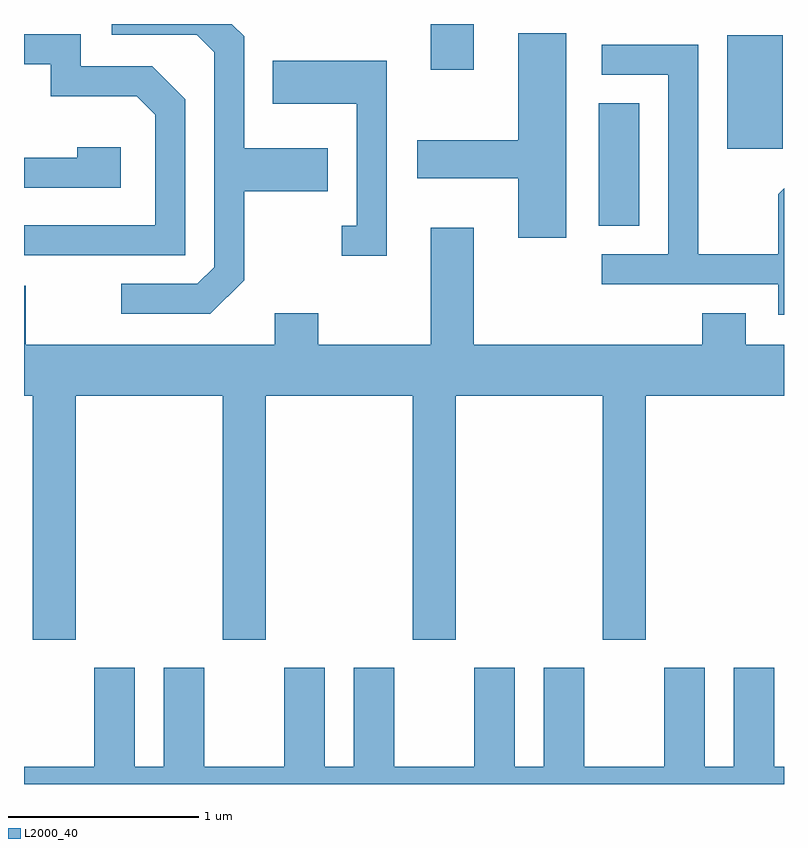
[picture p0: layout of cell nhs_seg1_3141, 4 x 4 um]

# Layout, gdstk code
import gdstk
lib = gdstk.Library(unit=1e-6, precision=1e-09)
def R(c, l, rs):  # rectangles x0, y0, x1, y1
    for r in rs: c.add(gdstk.rectangle(r[:2], r[2:], *l))
def P(c, l, *ps):  # polygons
    for p in ps: c.add(gdstk.Polygon(p, *l))
L2000_40 = (2000, 40)

nhs_seg1_3141 = lib.new_cell('nhs_seg1_3141')
R(nhs_seg1_3141, L2000_40, [(282.636,942.651,282.849,943.294), (283.311,943.056,283.604,943.654), (281.751,943.471,281.979,943.712)])
P(nhs_seg1_3141, L2000_40, [(280.769,942.364),(280.769,942.831),(281.209,942.831),(281.209,943.059),(280.769,943.059),(280.769,943.647),(280.704,943.712),(280.073,943.712),(280.073,943.656),(280.519,943.656),(280.611,943.564),(280.611,942.432),(280.524,942.344),(280.123,942.344),(280.123,942.186),(280.592,942.186)],
  [(282.464,943.664),(282.211,943.664),(282.211,943.099),(281.681,943.099),(281.681,942.901),(282.211,942.901),(282.211,942.586),(282.464,942.586)],
  [(280.459,943.317),(280.287,943.489),(279.909,943.489),(279.909,943.659),(279.611,943.659),(279.611,943.501),(279.751,943.501),(279.751,943.331),(280.204,943.331),(280.301,943.234),(280.301,942.654),(279.611,942.654),(279.611,942.496),(280.459,942.496)],
  [(283.611,942.847),(283.581,942.817),(283.581,942.499),(283.159,942.499),(283.159,943.604),(282.653,943.604),(282.653,943.446),(283.001,943.446),(283.001,942.499),(282.653,942.499),(282.653,942.341),(283.581,942.341),(283.581,942.181),(283.611,942.181)],
  [(281.519,943.519),(280.921,943.519),(280.921,943.291),(281.361,943.291),(281.361,942.649),(281.283,942.649),(281.283,942.491),(281.519,942.491)],
  [(280.119,943.064),(279.891,943.064),(279.891,943.009),(279.611,943.009),(279.611,942.851),(280.119,942.851)],
  [(279.884,941.756),(280.656,941.756),(280.656,940.471),(280.884,940.471),(280.884,941.756),(281.656,941.756),(281.656,940.471),(281.884,940.471),(281.884,941.756),(282.656,941.756),(282.656,940.471),(282.884,940.471),(282.884,941.756),(283.611,941.756),(283.611,942.024),(283.409,942.024),(283.409,942.189),(283.181,942.189),(283.181,942.024),(281.979,942.024),(281.979,942.639),(281.751,942.639),(281.751,942.024),(281.159,942.024),(281.159,942.189),(280.931,942.189),(280.931,942.024),(279.619,942.024),(279.619,942.334),(279.611,942.334),(279.611,941.756),(279.656,941.756),(279.656,940.471),(279.884,940.471)],
  [(283.611,939.804),(283.559,939.804),(283.559,940.324),(283.346,940.324),(283.346,939.804),(283.194,939.804),(283.194,940.324),(282.981,940.324),(282.981,939.804),(282.559,939.804),(282.559,940.324),(282.346,940.324),(282.346,939.804),(282.194,939.804),(282.194,940.324),(281.981,940.324),(281.981,939.804),(281.559,939.804),(281.559,940.324),(281.346,940.324),(281.346,939.804),(281.194,939.804),(281.194,940.324),(280.981,940.324),(280.981,939.804),(280.559,939.804),(280.559,940.324),(280.346,940.324),(280.346,939.804),(280.194,939.804),(280.194,940.324),(279.981,940.324),(279.981,939.804),(279.611,939.804),(279.611,939.712),(283.611,939.712)])

lib.write_gds('nhs_seg1_3141.gds')
